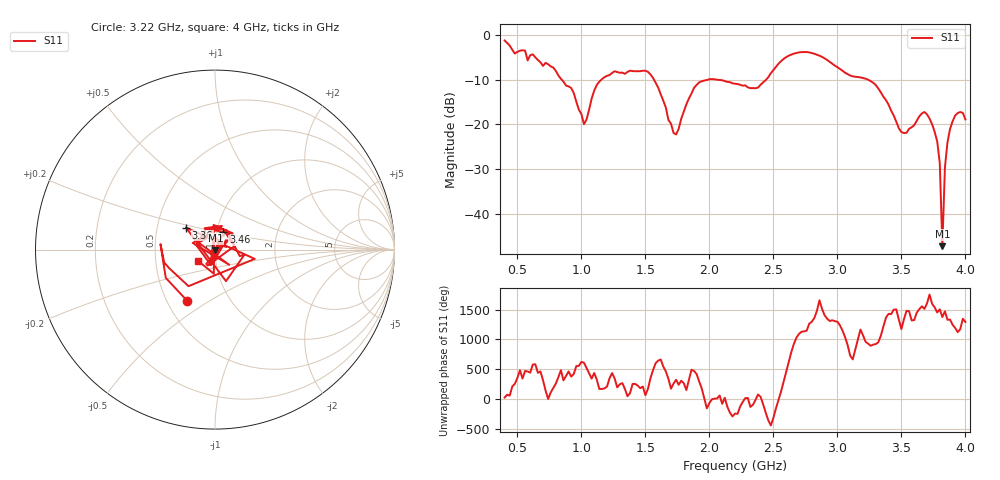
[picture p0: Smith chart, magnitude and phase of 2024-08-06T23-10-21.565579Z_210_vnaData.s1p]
!Created with skrf (http://scikit-rf.org).
# Hz S RI R 50.0
!freq ReS11 ImS11
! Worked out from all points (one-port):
!   181 points, 400 MHz to 4 GHz, reference 50 ohm
!   lowest |S11| = -47.3 dB at 3.82 GHz (marker M1), VSWR 1.01, Z = 50.2 - j0.388 ohm
!   |S11| at or under -10 dB: 1.567 GHz to 1.987 GHz (420 MHz wide, 23.6 % of centre); 2.06 GHz to 2.443 GHz (383.4 MHz wide, 17 % of centre); 3.24 GHz to end of sweep (the widest 3 of 4)
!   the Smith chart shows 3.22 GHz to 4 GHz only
!   S11 on the Smith chart (normalised r, x): 3.22 GHz: 0.63, -0.40; 3.36 GHz: 0.70, +0.18; 3.46 GHz: 1.08, +0.21; 4 GHz: 0.82, -0.10
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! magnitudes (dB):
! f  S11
! 400 MHz  -1.2
! 860 MHz  -10.4
! 940 MHz  -12.9
! 1.02 GHz  -20.0
! 1.12 GHz  -11.2
! 1.3 GHz  -8.4
! 1.52 GHz  -8.2
! 1.6 GHz  -11.8
! 1.72 GHz  -21.9
! 1.76 GHz  -21.0
! 1.92 GHz  -10.6
! 2.2 GHz  -10.9
! 2.38 GHz  -11.8
! 2.66 GHz  -4.1
! 2.86 GHz  -4.6
! 3.1 GHz  -9.1
! 3.22 GHz  -9.8
! 3.36 GHz  -13.8
! 3.46 GHz  -19.4
! 3.56 GHz  -21.0
! 3.68 GHz  -17.2
! 3.76 GHz  -21.7
! 3.8 GHz  -28.7
! 3.82 GHz  -47.3
! 3.84 GHz  -29.7
! 3.86 GHz  -24.0
! 3.92 GHz  -18.0
! 4 GHz  -18.9
